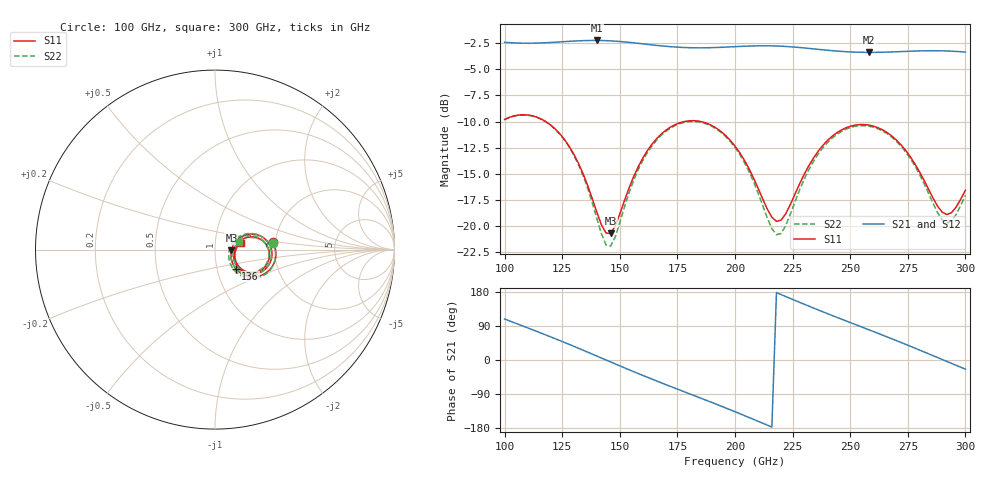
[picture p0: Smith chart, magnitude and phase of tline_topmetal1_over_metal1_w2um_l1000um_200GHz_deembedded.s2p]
! Created with skrf 2.2.0 (http://scikit-rf.org).
# GHz S DB R 50.0
! Port[1] = P1
! Port[2] = P2
!freq dBS11 angS11 dBS21 angS21 dBS12 angS12 dBS22 angS22
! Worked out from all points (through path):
!   101 points, 100 GHz to 300 GHz, reference 50 ohm
!   highest |S21| = -2.22 dB at 140 GHz (marker M1); lowest = -3.4 dB at 258 GHz (marker M2)
!   group delay of S21, straight-line fit = 6.84 ps
!   lowest |S11| = -20.7 dB at 146 GHz (marker M3), VSWR 1.20, Z = 60.1 - j0.459 ohm
!   |S11| at or under -10 dB: 117.8 GHz to 178 GHz (60.13 GHz wide, 40.7 % of centre); 185 GHz to end of sweep
!   |S22| runs from -22.0 to -9.4 dB; largest |S21 - S12| = 1.2e-12
!   S11 on the Smith chart (normalised r, x): 100 GHz: 1.93, +0.19; 136 GHz: 1.23, -0.27; 300 GHz: 1.33, +0.10
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100  -9.80 7.6  -2.40 108.2  -2.40 108.2  -9.82 6.9
110  -9.37 -9.8  -2.49 84.8  -2.49 84.8  -9.38 -11.1
118  -10.02 -23.6  -2.44 65.8  -2.44 65.8  -10.04 -25.4
134  -14.97 -43.0  -2.25 26.0  -2.25 26.0  -15.15 -46.9
136  -16.10 -42.5  -2.23 20.9  -2.23 20.9  -16.36 -47.0
140  -18.67 -35.6  -2.22 10.5  -2.22 10.5  -19.26 -40.8
146  -20.74 -2.4  -2.26 -5.1  -2.26 -5.1  -21.95 -3.1
158  -14.33 25.5  -2.50 -35.7  -2.50 -35.7  -14.61 27.4
168  -11.20 14.4  -2.74 -60.2  -2.74 -60.2  -11.32 15.1
184  -9.95 -11.0  -2.93 -98.0  -2.93 -98.0  -10.02 -11.6
200  -12.35 -34.1  -2.82 -136.5  -2.82 -136.5  -12.49 -36.5
210  -16.38 -36.8  -2.74 -161.7  -2.74 -161.7  -16.84 -41.1
218  -19.58 -11.2  -2.76 177.8  -2.76 177.8  -20.85 -12.9
222  -18.85 7.4  -2.80 167.5  -2.80 167.5  -19.99 9.8
234  -13.52 19.7  -3.03 137.3  -3.03 137.3  -13.84 22.6
246  -10.83 5.6  -3.27 108.3  -3.27 108.3  -10.98 7.2
258  -10.34 -12.4  -3.37 80.0  -3.37 80.0  -10.44 -11.7
268  -11.38 -26.7  -3.33 56.2  -3.33 56.2  -11.49 -26.8
280  -14.79 -36.2  -3.23 26.6  -3.23 26.6  -15.03 -37.6
290  -18.70 -17.7  -3.22 1.2  -3.22 1.2  -19.44 -18.6
294  -18.73 -1.3  -3.25 -9.0  -3.25 -9.0  -19.52 0.1
300  -16.59 14.8  -3.34 -24.2  -3.34 -24.2  -17.08 17.8
